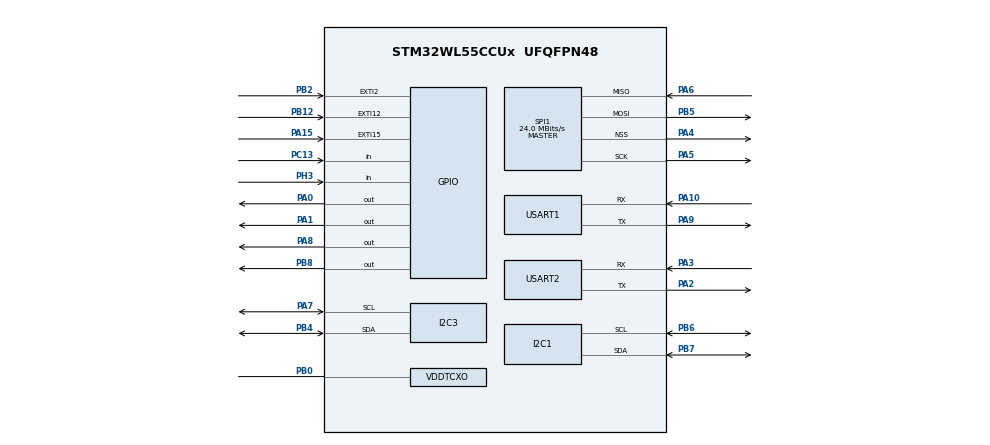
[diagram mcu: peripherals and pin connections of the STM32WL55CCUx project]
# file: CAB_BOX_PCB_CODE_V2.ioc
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Dma.Request0=USART2_TX
Dma.USART2_TX.0.Channel_PRIV_NPRIV=DMA_CHANNEL_NPRIV_DISABLE
Dma.USART2_TX.0.Direction=DMA_MEMORY_TO_PERIPH
Dma.USART2_TX.0.EventEnable=DISABLE
Dma.USART2_TX.0.Instance=DMA1_Channel1
Dma.USART2_TX.0.MemDataAlignment=DMA_MDATAALIGN_BYTE
Dma.USART2_TX.0.MemInc=DMA_MINC_ENABLE
Dma.USART2_TX.0.Mode=DMA_NORMAL
Dma.USART2_TX.0.PeriphDataAlignment=DMA_PDATAALIGN_BYTE
Dma.USART2_TX.0.PeriphInc=DMA_PINC_DISABLE
Dma.USART2_TX.0.Polarity=HAL_DMAMUX_REQ_GEN_RISING
Dma.USART2_TX.0.Priority=DMA_PRIORITY_LOW
Dma.USART2_TX.0.RequestNumber=1
Dma.USART2_TX.0.SignalID=NONE
Dma.USART2_TX.0.SyncEnable=DISABLE
Dma.USART2_TX.0.SyncPolarity=HAL_DMAMUX_SYNC_NO_EVENT
Dma.USART2_TX.0.SyncRequestNumber=1
Dma.USART2_TX.0.SyncSignalID=NONE
I2C1.Timing=0x20303E5D
I2C3.Timing=0x20303E5D
Mcu.Family=STM32WL
Mcu.Name=STM32WL55CCUx
Mcu.Package=UFQFPN48
Mcu.UserConstants=RTC_PREDIV_A,((1<<(15-RTC_N_PREDIV_S))-1);RTC_N_PREDIV_S,10;RTC_PREDIV_S,((1<<RTC_N_PREDIV_S)-1)
NVIC.DMA1_Channel1_IRQn=true\:0\:0\:false\:false\:true\:false\:true\:true
NVIC.EXTI15_10_IRQn=true\:0\:0\:true\:false\:true\:true\:true\:true
NVIC.EXTI2_IRQn=true\:0\:0\:true\:false\:true\:true\:true\:true
NVIC.I2C1_EV_IRQn=true\:0\:0\:true\:false\:true\:true\:true\:true
NVIC.PriorityGroup=NVIC_PRIORITYGROUP_4
NVIC.RTC_Alarm_IRQn=true\:0\:0\:true\:false\:true\:true\:true\:true
NVIC.SPI1_IRQn=true\:0\:0\:true\:false\:true\:true\:true\:true
NVIC.SUBGHZ_Radio_IRQn=true\:0\:0\:true\:false\:true\:true\:true\:true
NVIC.TIM2_IRQn=true\:0\:0\:false\:false\:true\:true\:true\:true
NVIC.USART1_IRQn=true\:0\:0\:true\:false\:true\:true\:true\:true
NVIC.USART2_IRQn=true\:0\:0\:true\:false\:true\:true\:true\:true
OSC_IN.Mode=HSE-TCXO
OSC_IN.Signal=RCC_OSC_IN
PA0.Signal=GPIO_Output
PA1.Signal=GPIO_Output
PA10.GPIO_Speed=GPIO_SPEED_FREQ_VERY_HIGH
PA10.Mode=Asynchronous
PA10.Signal=USART1_RX
PA11.GPIO_Speed=GPIO_SPEED_FREQ_VERY_HIGH
PA11.Signal=USART1_CTS
PA12.GPIO_Speed=GPIO_SPEED_FREQ_VERY_HIGH
PA12.Signal=USART1_RTS
PA13.Mode=Serial_Wire
PA13.Signal=DEBUG_JTMS-SWDIO
PA14.Mode=Serial_Wire
PA14.Signal=DEBUG_JTCK-SWCLK
PA15.GPIO_ModeDefaultEXTI=GPIO_MODE_IT_FALLING
PA15.GPIO_PuPd=GPIO_PULLUP
PA15.Signal=GPXTI15
PA2.GPIO_Speed=GPIO_SPEED_FREQ_VERY_HIGH
PA2.Mode=Asynchronous
PA2.Signal=USART2_TX
PA3.GPIO_Speed=GPIO_SPEED_FREQ_VERY_HIGH
PA3.Mode=Asynchronous
PA3.Signal=USART2_RX
PA4.Mode=NSS_Signal_Hard_Output
PA4.Signal=SPI1_NSS
PA5.Mode=Full_Duplex_Master
PA5.Signal=SPI1_SCK
PA6.Mode=Full_Duplex_Master
PA6.Signal=SPI1_MISO
PA7.GPIO_Pu=GPIO_PULLUP
PA7.Mode=I2C
PA7.Signal=I2C3_SCL
PA8.Signal=GPIO_Output
PA9.GPIO_Speed=GPIO_SPEED_FREQ_VERY_HIGH
PA9.Mode=Asynchronous
PA9.Signal=USART1_TX
PB0-VDD_TCXO.Mode=HSE-TCXO
PB0-VDD_TCXO.Signal=VDDTCXO
PB12.GPIO_ModeDefaultEXTI=GPIO_MODE_IT_RISING_FALLING
PB12.Signal=GPXTI12
PB2.GPIO_ModeDefaultEXTI=GPIO_MODE_IT_RISING_FALLING
PB2.Signal=GPXTI2
PB3.Signal=DEBUG_JTDO-SWO
PB4.GPIO_Pu=GPIO_PULLUP
PB4.Mode=I2C
PB4.Signal=I2C3_SDA
PB5.Mode=Full_Duplex_Master
PB5.Signal=SPI1_MOSI
PB6.GPIO_FM6=__NULL
PB6.GPIO_Pu=GPIO_PULLUP
PB6.GPIO_Speed=GPIO_SPEED_FREQ_HIGH
PB6.Mode=I2C
PB6.Signal=I2C1_SCL
PB7.GPIO_FM7=__NULL
PB7.GPIO_Pu=GPIO_PULLUP
PB7.GPIO_Speed=GPIO_SPEED_FREQ_HIGH
PB7.Mode=I2C
PB7.Signal=I2C1_SDA
PB8.Signal=GPIO_Output
PC13.Signal=GPIO_Input
PC14-OSC32_IN.Mode=LSE-External-Oscillator
PC14-OSC32_IN.Signal=RCC_OSC32_IN
PC15-OSC32_OUT.Mode=LSE-External-Oscillator
PC15-OSC32_OUT.Signal=RCC_OSC32_OUT
PH3-BOOT0.Signal=GPIO_Input
ProjectManager.HeapSize=0x200
ProjectManager.StackSize=0x800
ProjectManager.TargetToolchain=STM32CubeIDE
RCC.AHBFreq_Value=48000000
RCC.APB1Freq_Value=48000000
RCC.APB1TimFreq_Value=48000000
RCC.APB2Freq_Value=48000000
RCC.APB2TimFreq_Value=48000000
RCC.APB3Freq_Value=48000000
RCC.CortexFreq_Value=48000000
RCC.HCLKFreq_Value=48000000
RCC.HSE_VALUE=32000000
RCC.HSI_VALUE=16000000
RCC.LSE_VALUE=32768
RCC.MSIClockRange=RCC_MSIRANGE_11
RCC.SYSCLKFreq_VALUE=48000000
RCC.VCOOutputFreq_Value=384000000
RTC.Alarm-Alarm\ A=RTC_ALARM_A
SPI1.BaudRatePrescaler=SPI_BAUDRATEPRESCALER_2
SPI1.CalculateBaudRate=24.0 MBits/s
SPI1.Direction=SPI_DIRECTION_2LINES
SPI1.Mode=SPI_MODE_MASTER
SPI1.VirtualNSS=VM_NSSHARD
SPI1.VirtualType=VM_MASTER
SUBGHZ_PHY.Activate_DEBUG_LINE=true
SUBGHZ_PHY.Activate_RADIO_BOARD_INTERFACE=Bsp
SUBGHZ_PHY.FSK_BANDWIDTH=40000
SUBGHZ_PHY.FSK_DATARATE=20000
SUBGHZ_PHY.FSK_FDEV=10000
SUBGHZ_PHY.LOW_POWER_DISABLE=true
SUBGHZ_PHY.MODEM_USED=USE_MODEM_FSK
SUBGHZ_PHY.RF_FREQUENCY=910000000
SUBGHZ_PHY.SUBGHZ_APPLICATION=SUBGHZ_ADV_APPLICATION
SubGHz_Phy.BSP.number=5
SubGHz_Phy0.BSP.STBoard=false
SubGHz_Phy0.BSP.api=Unknown
SubGHz_Phy0.BSP.condition=\!SEM_SUBGHZ_USER_APPLICATION | SEM_SUBGHZ_USE_RTC
SubGHz_Phy0.BSP.instance=RTC
SubGHz_Phy0.BSP.ip=RTC
SubGHz_Phy0.BSP.mode=RTC Enabled
SubGHz_Phy0.BSP.name=RTC
SubGHz_Phy0.BSP.solution=RTC
SubGHz_Phy1.BSP.STBoard=false
SubGHz_Phy1.BSP.api=Unknown
SubGHz_Phy1.BSP.condition=\!SEM_SUBGHZ_USER_APPLICATION | SEM_SUBGHZ_USE_UART
SubGHz_Phy1.BSP.instance=USART2
SubGHz_Phy1.BSP.ip=(LPU|US)ART
SubGHz_Phy1.BSP.mode=Asynchronous
SubGHz_Phy1.BSP.name=USART
SubGHz_Phy1.BSP.solution=USART2
SubGHz_Phy2.BSP.STBoard=false
SubGHz_Phy2.BSP.api=Unknown
SubGHz_Phy2.BSP.condition=SEM_PROBE_LINE_FOR_SUBGHZ_PHY
SubGHz_Phy2.BSP.instance=PA0
SubGHz_Phy2.BSP.ip=GPIO
SubGHz_Phy2.BSP.mode=Output
SubGHz_Phy2.BSP.name=Debug Line 2
SubGHz_Phy2.BSP.solution=PA0
SubGHz_Phy3.BSP.STBoard=false
SubGHz_Phy3.BSP.api=Unknown
SubGHz_Phy3.BSP.condition=SEM_PROBE_LINE_FOR_SUBGHZ_PHY
SubGHz_Phy3.BSP.instance=PA1
SubGHz_Phy3.BSP.ip=GPIO
SubGHz_Phy3.BSP.mode=Output
SubGHz_Phy3.BSP.name=Debug Line 3
SubGHz_Phy3.BSP.solution=PA1
SubGHz_Phy4.BSP.STBoard=false
SubGHz_Phy4.BSP.api=Unknown
SubGHz_Phy4.BSP.condition=SEM_PROBE_LINE_FOR_SUBGHZ_PHY
SubGHz_Phy4.BSP.instance=PB8
SubGHz_Phy4.BSP.ip=GPIO
SubGHz_Phy4.BSP.mode=Output
SubGHz_Phy4.BSP.name=Debug Line 4
SubGHz_Phy4.BSP.solution=PB8
TIM2.Period=20000
TIM2.Prescaler=9599
USART1.VirtualMode-Asynchronous=VM_ASYNC
USART2.VirtualMode-Asynchronous=VM_ASYNC
VP_ADV_TRACE_VS_ADV_TRACE.Mode=ADV_TRACE_Enabled
VP_MISC_VS_MISC.Mode=MISC_Enabled
VP_RTC_VS_RTC_Activate.Mode=RTC_Enabled
VP_RTC_VS_RTC_Alarm_A_Intern.Mode=Alarm A
VP_RTC_VS_RTC_Calendar.Mode=RTC_Calendar
VP_SEQUENCER_M4_VS_SEQUENCER.Mode=SEQUENCER_Enabled
VP_SUBGHZ_PHY_VS_SubGhzPhy.Mode=SubGhzPhy_Enabled
VP_SUBGHZ_VS_SUBGHZ.Mode=SUBGHZ_Activate
VP_TIM2_VS_ClockSourceINT.Mode=Internal
VP_TIMER_VS_TIMER.Mode=TIMER_Enabled
VP_TINY_LPM_VS_TINY_LPM.Mode=TINY_LPM_Enabled
board=custom

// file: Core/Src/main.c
/* USER CODE BEGIN Header */
// NGRF WCS for StormEq
// Jake Price
// 11/13/23

/**
 * @brief Wireless Control Service (WCS)
 * @defgroup bt_wcs Wireless Control Service (WCS)
 * @ingroup FSK
 * @{
 *
 * [Experimental] Users should note that the APIs can change
 * as a part of ongoing development.
 */

/*
 * Copyright (c) 2023 NGRF
 *
 *
 */
/* USER CODE END Header */
#include "main.h"
#include "dma.h"
#include "i2c.h"
#include "rtc.h"
#include "spi.h"
#include "app_subghz_phy.h"
#include "tim.h"
#include "usart.h"
#include "gpio.h"

/* USER CODE BEGIN Includes */
#include "subghz_phy_app.h"
#include <stdio.h>
#include <stdbool.h>
#include <stdlib.h>
#include "radio.h"
#include "sys_app.h"
#include "stm32wlxx_hal_i2c.h"
#include "radio_driver.h"
#include "usart_if.h"

/* USER CODE END Includes */

/* USER CODE BEGIN PD */

// LTC4015 Config Variables
#define LTC4015_I2C_ADDRESS 				 	 0xD0
#define LTC4015_I2C_WRITE_ADDRESS				 0xD0
#define LTC4015_I2C_READ_ADDRESS				 0xD1
// #define LTC4015_I2C_WRITE_ADDRESS		     0x68
// #define LTC4015_I2C_READ_ADDRESS				 0x69
// #define LTC4015_I2C_ADDRESS      			 ((uint16_t)0xD0)
// #define  LTC4015_I2C_ADDRESS 				 0x68
// uint16_t LTC4015_I2C_ADDRESS 			     = (uint16_t)0xD0;

#define LTC4015_CONTROL_REGISTER				0x14
#define EN_QCOUNT_BIT							(1 << 2)

// Sub-address for Coulomb Counter Prescale Factor
#define QCOUNT_PRESCALE_FACTOR_REGISTER_ADDR 	0x12

// Sub-address for Coulomb Counter Accumulator Value
#define QCOUNT_REGISTER_ADDR					0x13

// EEPROM Read and Write Addresses
#define EEPROM_ADDR 							0xA0
// #define EEPROM_START_ADDR					0x0000
#define CLEAR_DATA_VALUE 						0xFFFF

/* USER CODE END PD */

/* USER CODE BEGIN PV */

// Pairing Variables
PairingStates_t currentPairingState;

uint32_t lastButtonPressTime 		= 0;
uint8_t payload[2] 					= {0}; // This loads the Device IDs into Buffer Tx
uint16_t deviceId 					= 0;   // This is the local device ID
uint16_t otherDeviceID 				= 0;   // This is the remote device ID
uint16_t combinedDeviceID[2] 		= {0}; // This is the local combination (unswapped)
uint16_t swappedCombinedDeviceID[2] = {0}; // This is the local combination that we swap before sending so that it matches the remote device's otherCombinedDeviceID
uint16_t *EEPROM_PairingID1 		= NULL;
uint16_t *EEPROM_PairingID2			= NULL;
uint16_t EEPROM_Start_Address		= 0x0000;
bool isPairingConfirmed		 		= false;
bool isRepaired 			 		= false;	// debounce if this device successfully pairs, but other device fails
bool isPairingButtonPressed  		= false;
bool pairingFlag             		= false;
DeviceIDS deviceIds = {.deviceID 	= 0, .otherDeviceID = 0, .combinedDeviceID = {0, 0}, .swappedCombinedDeviceID = {0, 0}};

// UART Edge Trigger Flag
bool CenterCheck 					= true;

////////////////////////////////////////////////////////////////////////////////////////////////////////////////////
uint32_t cabChargeLevel 			= 0;
/////////////////////////////////////////////////////////////////////////////////////////////////////////////////////

/* USER CODE END PV */

void SystemClock_Config(void);
/* USER CODE BEGIN PFP */

void UARTCallback(UART_HandleTypeDef *huart);

void HAL_GPIO_EXTI_Callback(uint16_t GPIO_Pin);

/* USER CODE END PFP */

/* USER CODE BEGIN 0 */

#ifdef __GNUC__
#define PUTCHAR_PROTOTYPE int __io_putchar(int ch)
#else
#define PUTCHAR_PROTOTYPE int fputc(int ch, FILE *f)
#endif

PUTCHAR_PROTOTYPE
{
  HAL_UART_Transmit(&huart2, (uint8_t *)&ch, 1, HAL_MAX_DELAY);
  return ch;
}

void LTC4015_WriteRegister(I2C_HandleTypeDef *hi2c1, uint16_t registerAddr, uint16_t data)
{

	//	printf( "\n\rEntered LTC4015_WriteRegister()!!!!!!!!!!!!!!!!!!!!!\n\r");
	uint16_t writeAddress = (LTC4015_I2C_ADDRESS);
	HAL_StatusTypeDef status;

	uint8_t sendData[2] = {0};
	sendData[1] = (data >> 8) & 0xFF;
	sendData[0] = data & 0xFF;

    // printf("\n\rPre-Write Data: %u, %u\n\r", registerAddr, sendData[0], sendData[1]);
	// status = HAL_I2C_Mem_Write(hi2c1, writeAddress, registerAddr, I2C_MEMADD_SIZE_16BIT, &sendData, 1, HAL_MAX_DELAY);

	//	if(status == HAL_OK) {
	//	    printf("HAL_I2C_Mem_Write successful\n\r");
	//	} else if(status == HAL_ERROR) {
	//	    printf("HAL_I2C_Mem_Write error: HAL_ERROR\n\r");
	//	} else if(status == HAL_BUSY) {
	//	    printf("HAL_I2C_Mem_Write error: HAL_BUSY\n\r");
	//	} else if(status == HAL_TIMEOUT) {
	//	    printf("HAL_I2C_Mem_Write error: HAL_TIMEOUT\n\r");
	//	} else {
	//	    printf("Unknown error occurred during HAL_I2C_Mem_Write\n\r");
	//	}

}

uint16_t LTC4015_ReadRegister(I2C_HandleTypeDef *hi2c1, uint16_t registerAddr)
{
	//	printf( "\n\rEntered LTC4015_ReadRegister()!!!!!!!!!!!!!!!!!!!!!!\n\r");
	uint16_t readAddress = (LTC4015_I2C_ADDRESS);
	HAL_StatusTypeDef status;
	uint8_t *data = malloc(2 * sizeof(uint8_t));
	//uint8_t data[2] = {0};

	//	status = HAL_I2C_Mem_Read(hi2c1, readAddress, registerAddr, I2C_MEMADD_SIZE_16BIT, &data, 2, HAL_MAX_DELAY);
	//    if (status != HAL_OK)
	//    {
	//        printf("\n\rHAL_I2C_Mem_Read Failed\n\r");
	//        return 0;
	//    }
	//    else
	//    {
	//        printf("\n\rSUCCESS Read from register (HEX) 0x%04X: Data (HEX, HEX) = %02X, %02X\n\r", registerAddr, data[0], data[1]);
	//    }

    uint16_t registerValue = (data[0] << 8) | data[1];
    // Print the register value
    printf("\n\rRead from register (HEX) 0x%04X:  (HEX) 0x%04X\n\r", registerAddr, registerValue);

    return registerValue;
}
/////////////////////////////////////////////////////////////////////////////////////////////////////////////////
////////////////////////// Added this
//    status = HAL_SMBUS_Master_Transmit_IT(&hsmbus1, combinedAddress, (uint8_t *)&registerAddr, 1, 0);
//    if (status != HAL_OK)
//	{
//    	printf("\n\r1) HAL_SMBUS_Master_Transmit_IT Failed\n\r");
//	}
//	/////////////////////////
//
//	status = HAL_SMBUS_Master_Transmit_IT(&hsmbus1, combinedAddress, (uint8_t *)&data, 1, 0);
//    if (status != HAL_OK)
//    {
//    	printf("\n\r2) HAL_SMBUS_Master_Transmit_IT Failed\n\r");
//    }

//    //  --- Added this ---/////////////////////////////////////
//    status = HAL_SMBUS_Master_Transmit_IT(&hsmbus1, combinedAddress, (uint8_t *)&registerAddr, 1, 0);
//    if (status != HAL_OK)
//	{
//    	printf("\n\rHAL_SMBUS_Master_Transmit_IT Failed\n\r");
//	}
//    /////////////////////////////////////////////////////////
//
//    status = HAL_SMBUS_Master_Receive_IT(&hsmbus1, combinedAddress, (uint8_t *)&data, 1, 0);
//    if (status != HAL_OK)
//    {
//    	 printf("\n\rHAL_SMBUS_Mem_Read: Read from register 0x%04X failed. HAL Status: %u\n\r", registerAddr, status);
//    }
///////////////////////////////////////////////////////////////////////////////////////////////////////////////////
// Function to set the 'en_qcount' bit in the LTC4015
void EnableCoulombCounter(void)
{

	//printf( "\n\rEntered EnableCoulombCounter()!!!!!!!!!!!!!!!!!!!!!\n\r");

	/////////////////////////////////// INITIAL VALUES ////////////////////////////

	printf( "\n\r\n\r---INITIAL VALUES---\n\r\n\r");
	// Read the current value of the control register
    uint16_t ControlRegisterValue = LTC4015_ReadRegister(&hi2c1, LTC4015_CONTROL_REGISTER); // 0x0A
    printf( "\n\rInitial REGISTER (HEX) %02X (CONTROL REGISTER) contents: (HEX) %02X\n\r", LTC4015_CONTROL_REGISTER, ControlRegisterValue);
    //
    //    uint16_t preValue = LTC4015_ReadRegister(&hsmbus1, QCOUNT_PRESCALE_FACTOR_REGISTER_ADDR);
    //    printf( "\n\rInitial REGISTER 0x12 (PRESCALER) contents: %02X\n\r", preValue);
    //
    //    uint16_t preValue1 = LTC4015_ReadRegister(&hsmbus1, QCOUNT_REGISTER_ADDR);
    //    printf( "\n\rInitial REGISTER QCOUNT %02X\n\r", preValue1);

	printf( "\n\r\n\r---INITIAL VALUES---\n\r\n\r");

    // Set the 'en_qcount' bit while keeping other bits unchanged
	// uint16_t newControlValue = EN_QCOUNT_BIT;
    uint16_t newControlValue = ControlRegisterValue | EN_QCOUNT_BIT;
    printf( "\n\rnew control Value after setting EN_QCOUNT_BIT: (HEX) %02X\n\r", newControlValue);

    // Write the modified value back to the control register
    LTC4015_WriteRegister(&hi2c1, LTC4015_CONTROL_REGISTER, newControlValue);

    // Debug statement to check the new value saved to the register
    uint16_t newRegisterValue = LTC4015_ReadRegister(&hi2c1, LTC4015_CONTROL_REGISTER);
    printf( "\n\r\n\rnew Control Register Value after write: (HEX) %04X.\n\r\n\r", newRegisterValue);

}

// Function to set Coulomb Counter Prescale Factor
void SetCoulombCounterPrescaleFactor(uint8_t value)
{

	// printf("Entered  SetCoulombCounterPrescaleFactor function!!!!!!!!!!!!!!!!!!!\n\r");
    // Write the value to the specified sub-address

    LTC4015_WriteRegister(&hi2c1, QCOUNT_PRESCALE_FACTOR_REGISTER_ADDR, value);

    uint8_t newRegisterValue = LTC4015_ReadRegister(&hi2c1, QCOUNT_PRESCALE_FACTOR_REGISTER_ADDR);

    printf( "\n\r\n\rnew Control Register Value after write: (HEX) %02X\n\r\n\r", newRegisterValue);
}

// Function to set Coulomb Counter Accumulator Value
void SetCoulombCounterAccumulatorValue(uint16_t value)
{
	// printf("Entered SetCoulombCounterAccumulatorValue function!!!!!!!!!!!!!!!!!!\n\r");
    /////////////////////////////// Double check this!!!!!!!!!!!!!!!!!
    // Write the value to the specified sub-address (16-bit write)
    LTC4015_WriteRegister(&hi2c1, QCOUNT_REGISTER_ADDR, (uint8_t)(value & 0xFF));         		// Low byte
    LTC4015_WriteRegister(&hi2c1, QCOUNT_REGISTER_ADDR + 1, (uint8_t)((value >> 8) & 0xFF));      // High byte

    uint8_t newRegisterValue = LTC4015_ReadRegister(&hi2c1, QCOUNT_REGISTER_ADDR);
    printf( "\n\rnew Control Register Value after write: (HEX) %02X\n\r", newRegisterValue);

}

// Function to calculate State of Charge (SoC) without using floats
uint32_t CalculateSOC(void)
{
	printf("Entered CalculateSOC function!!!!!!!!!!!!!!!!!!!!!!!!!!!!!\n\r");

    // Constants from the formula
    uint16_t offset  = 16384;
    uint16_t divisor = 32768;
    uint8_t scale    = 1; // set to 1 for 100%

    // Read QCOUNT from register 0x13
    uint16_t qcount        = LTC4015_ReadRegister(&hi2c1, QCOUNT_REGISTER_ADDR);
    printf( "\n\rQCOUNT1 %02X\n\r", qcount);
    // Perform integer-based SoC calculation
    uint32_t soc           = scale * (qcount - offset);
    soc /= divisor;

    // Ensure SoC is within the valid range (0 to 100)
    soc = (soc < 0) ? 0 : soc;
    soc = (soc > 100) ? 100 : soc;

    printf("SOC = %u\n\r", soc);

    uint8_t preValue = LTC4015_ReadRegister(&hi2c1, 0x12);
    printf( "\n\rPRESCALE FACTOR %02X\n\r", preValue);

    uint8_t preValue1 = LTC4015_ReadRegister(&hi2c1, 0x13);
    printf( "\n\rQCOUNT2 %02X\n\r", preValue1);

    return soc;
}

// EEPROM Read and Write Functions
void saveIDsToEEPROM(I2C_HandleTypeDef *hi2c3, uint16_t id1, uint16_t id2, uint16_t startAddress)
{

	// Construct the high and low bytes of the pairingID 1
	uint8_t data_high_byte_1  = (id1 >> 8) & 0xFF;
	uint8_t data_low_byte_1   = id1 & 0xFF;

	// Construct the high and low bytes of pairing ID 2
	uint8_t data_high_byte_2  = (id2 >> 8) & 0xFF;
	uint8_t data_low_byte_2   = id2 & 0xFF;

	// Perform the I2C write operations

    printf("Writing to address: 0x%02X, id1 Value: 0x%02X, id2 Value: 0x%02X\n\r", startAddress, id1, id2);
    printf("data_high_byte_1: 0x%02X, data_low_byte_1: 0x%02X\n\r", data_high_byte_1, data_low_byte_1);
    printf("data_high_byte_2: 0x%02X, data_low_byte_2: 0x%02X\n\r", data_high_byte_2, data_low_byte_2);

	// Send high and low bytes of pairingId1
    HAL_StatusTypeDef receiveStatus = HAL_I2C_Mem_Write(hi2c3, EEPROM_ADDR, startAddress + 1, 1, &data_high_byte_1, 1, HAL_MAX_DELAY);

	if (receiveStatus == HAL_OK)
	{
		printf("HAL_I2C_Mem_Write to EEPROM Successful!\n\r");
	}
	else
	{
		printf("HAL_I2C_Mem_Write to EEPROM Failed.\n\r");
	}

	// Send high and low bytes of pairingId2
	receiveStatus = HAL_I2C_Mem_Write(hi2c3, EEPROM_ADDR, startAddress + 2, 1, &data_low_byte_1, 1, HAL_MAX_DELAY);

	if (receiveStatus == HAL_OK)
	{
		printf("HAL_I2C_Mem_Write to EEPROM Successful!\n\r");
	}
	else
	{
		printf("HAL_I2C_Mem_Write to EEPROM Failed.\n\r");
	}

	// Send high and low bytes of pairingId2
	receiveStatus = HAL_I2C_Mem_Write(hi2c3, EEPROM_ADDR, startAddress + 3, 1, &data_high_byte_2, 1, HAL_MAX_DELAY);

	if (receiveStatus == HAL_OK)
	{
		printf("HAL_I2C_Mem_Write to EEPROM Successful!\n\r");
	}
	else
	{
		printf("HAL_I2C_Mem_Write to EEPROM Failed.\n\r");
	}

	 // Send high and low bytes of pairingId2
	receiveStatus = HAL_I2C_Mem_Write(hi2c3, EEPROM_ADDR, startAddress + 4, 1, &data_low_byte_2, 1, HAL_MAX_DELAY);

	if (receiveStatus == HAL_OK)
	{
		printf("HAL_I2C_Mem_Write to EEPROM Successful!\n\r");
	}
	else
	{
		printf("HAL_I2C_Mem_Write to EEPROM Failed.\n\r");
	}

}

bool readIDsFromEEPROM(I2C_HandleTypeDef *hi2c3, uint16_t *id1, uint16_t *id2, uint16_t startAddress)
{

	printf("Read Device IDS from EEPROM\n\r");

	// construct the read buffer and temp variables
	uint8_t * read_buffer 	= NULL;
	uint16_t temp1 			= 0;
	uint16_t temp2 			= 0;

	read_buffer = (uint8_t *)malloc(4 * sizeof(uint8_t));

    HAL_StatusTypeDef receiveStatus = HAL_I2C_Mem_Read(hi2c3, EEPROM_ADDR, startAddress + 1, 1, &read_buffer[0], 1, HAL_MAX_DELAY);
	if (receiveStatus != HAL_OK)
	{
		printf("Read Failed (ID1) - HAL Status: %u\n\r", receiveStatus);
		return false;
	}

	receiveStatus = HAL_I2C_Mem_Read(hi2c3, EEPROM_ADDR, startAddress + 2, 1, &read_buffer[1], 1, HAL_MAX_DELAY);
	if (receiveStatus != HAL_OK)
	{
		printf("Read Failed (ID2) - HAL Status: %u\n\r", receiveStatus);
		return false;
	}

	*id1 = (uint16_t)(read_buffer[0] << 8) | read_buffer[1];

	temp1 = *id1;

	if((temp1 != 0x0000) && (temp1 != 0xFFFF))
	{
		deviceIds.deviceID = temp1;
		printf("4. deviceIds.deviceID: 0x%04X\n\r", deviceIds.deviceID);
		deviceIds.combinedDeviceID[0]        = deviceIds.deviceID;
	}

	else
	{
		printf("4. No deviceID saved to EEPROM, waiting for pairing...\n\r");
	}

    receiveStatus = HAL_I2C_Mem_Read(hi2c3, EEPROM_ADDR, startAddress + 3, 1, &read_buffer[2], 1, HAL_MAX_DELAY);
	if (receiveStatus != HAL_OK)
	{
		printf("Read Failed (ID1) - HAL Status: %u\n\r", receiveStatus);
		return false;
	}

	receiveStatus = HAL_I2C_Mem_Read(hi2c3, EEPROM_ADDR, startAddress + 4, 1, &read_buffer[3], 1, HAL_MAX_DELAY);
	if (receiveStatus != HAL_OK)
	{
		printf("Read Failed (ID2) - HAL Status: %u\n\r", receiveStatus);
		return false;
	}

	*id2 = (uint16_t)(read_buffer[2] << 8) | read_buffer[3];
	temp2 = *id2;

	if((temp2 != 0x0000) && (temp2 != 0xFFFF))
	{
		deviceIds.otherDeviceID = temp2;
		printf("6. deviceIds.otherDeviceID: 0x%04X\n\r", deviceIds.otherDeviceID);

		deviceIds.combinedDeviceID[1]        = deviceIds.otherDeviceID;
		deviceIds.swappedCombinedDeviceID[0] = deviceIds.combinedDeviceID[1];
		deviceIds.swappedCombinedDeviceID[1] = deviceIds.combinedDeviceID[0];

		swappedCombinedDeviceID[0] 			 = deviceIds.swappedCombinedDeviceID[0];
	    swappedCombinedDeviceID[1] 			 = deviceIds.swappedCombinedDeviceID[1];

	}

	else
	{
		printf("6. No deviceID saved to EEPROM, waiting for pairing...\n\r");
	}

	printf("7. deviceIds.deviceID = 0x%04X\n\r", deviceIds.deviceID);
	printf("8. deviceIds.otherDeviceID = 0x%04X\n\r", deviceIds.otherDeviceID);

	free(read_buffer);

	if((temp1 != 0) && (temp1 != 0xFFFF) && (temp2 != 0) && (temp2 != 0xFFFF))
	{
		return true;
	}

	else
	{
		return false;
	}
}

/* USER CODE END 0 */

int main(void)
{

  /* MCU Configuration--------------------------------------------------------*/

  /* Reset of all peripherals, Initializes the Flash interface and the Systick. */
  HAL_Init();

  /* Configure the system clock */
  SystemClock_Config();

  /* USER CODE BEGIN SysInit */

  // HAL_InitTick should be called after SystemClock_Config
  HAL_InitTick(TICK_INT_PRIORITY);

  /* USER CODE END SysInit */

  /* Initialize all configured peripherals */
  MX_GPIO_Init();
  MX_DMA_Init();
  MX_I2C1_Init();
  MX_I2C3_Init();
  MX_RTC_Init();
  MX_SPI1_Init();
  MX_USART1_UART_Init();
  MX_USART2_UART_Init();
  MX_SubGHz_Phy_Init();
  MX_TIM2_Init();
  /* USER CODE BEGIN 2 */

  SUBGRF_SetPaConfig(0x2, 0x3, 0x0, 0x1);

  HAL_GPIO_WritePin(PAIR_LIGHT_PORT, RED_PIN, GPIO_PIN_SET);
  HAL_GPIO_WritePin(PAIR_LIGHT_PORT, GREEN_PIN, GPIO_PIN_RESET);
  HAL_GPIO_WritePin(PAIR_LIGHT_PORT, BLUE_PIN, GPIO_PIN_RESET);

  if(readIDsFromEEPROM(&hi2c3, EEPROM_PairingID1, EEPROM_PairingID2, EEPROM_Start_Address))
  {
	  printf("readIDSFromEEPROM() successful!\n\r");
	  isPairingButtonPressed = false;
	  currentPairingState = Paired;
  }

  // Configure NVIC interrupts
    HAL_NVIC_SetPriorityGrouping(NVIC_PRIORITYGROUP_4);   HAL_UART_MspInit(&huart1);

    HAL_NVIC_SetPriority(USART1_IRQn, 0, 0);
    HAL_NVIC_SetPriority(I2C1_EV_IRQn, 3, 0);
    HAL_NVIC_SetPriority(TIM2_IRQn, 4, 0);

    HAL_NVIC_EnableIRQ(USART1_IRQn);
    HAL_NVIC_EnableIRQ(TIM2_IRQn);
    HAL_NVIC_EnableIRQ(I2C1_EV_IRQn);
    __enable_irq();

   HAL_UART_Receive_IT(&huart1, dataReceived, sizeof(dataReceived));

   HAL_StatusTypeDef status = HAL_OK;

   status = HAL_I2C_IsDeviceReady(&hi2c1, LTC4015_I2C_ADDRESS, 2, HAL_MAX_DELAY);//FINDME!

   if(status != HAL_OK)
   {
	   printf("SMBUS configuration failed, status = %d\n\r", status);
   }

   else
   {
	   printf("SMBUS configuration succeeded!\n\r");
   }

   //////////////////////////////////////////////////////////////////////

   if (HAL_TIM_Base_Start_IT(&htim2) != HAL_OK)
   {
     /* Starting Error */
     Error_Handler();
   }
   ///////////////////////////////////////////////////////////////////////////
   HAL_Delay(300); // Need a 300 msec delay here for some reason

  // Enable the Coulomb Counter
  // EnableCoulombCounter();
  // Set Coulomb prescale factor
  //SetCoulombCounterPrescaleFactor(0x65);
  // Set Coulomb Counter Accumulator Value
  //SetCoulombCounterAccumulatorValue(0x0C00);

  // Example usage to calculate SoC  -------- Make interrupts for these or place in blocking while loop for testing
  //uint8_t soc = CalculateSOC();

  // Print the calculated SoC
  //printf( "\n\rState of Charge (SoC): %u%%\n\r", soc);

  readIDsFromEEPROM(&hi2c3, &EEPROM_PairingID1, &EEPROM_PairingID2, EEPROM_Start_Address);

  SUBGRF_SetPaConfig(2, 2, 0, 1);

  /* USER CODE END 2 */

  /* Infinite loop */
  /* USER CODE BEGIN WHILE */
  while (1)
  {

	  // HAL_Delay(3); // Need a 3 msec delay here for some reason

	  if(currentPairingState == Paired)
	  {
			HAL_GPIO_WritePin(PAIR_LIGHT_PORT, RED_PIN, GPIO_PIN_RESET);
			HAL_GPIO_WritePin(PAIR_LIGHT_PORT, GREEN_PIN, GPIO_PIN_SET);
			HAL_GPIO_WritePin(PAIR_LIGHT_PORT, BLUE_PIN, GPIO_PIN_RESET);
			//printf("Entering MX_SubGHz_Phy_Process\n\r");
			MX_SubGHz_Phy_Process();
	   }

	   else if((currentPairingState == GenerateDeviceID) || (currentPairingState == EncodeDeviceID) || (currentPairingState == BroadcastDeviceID))
	   {
			HAL_GPIO_WritePin(PAIR_LIGHT_PORT, RED_PIN, GPIO_PIN_RESET);
			HAL_GPIO_WritePin(PAIR_LIGHT_PORT, GREEN_PIN, GPIO_PIN_RESET);
			HAL_GPIO_WritePin(PAIR_LIGHT_PORT, BLUE_PIN, GPIO_PIN_SET);
	   }

	   else if((currentPairingState == Unknown))
	   {
			HAL_GPIO_WritePin(PAIR_LIGHT_PORT, RED_PIN, GPIO_PIN_SET);
			HAL_GPIO_WritePin(PAIR_LIGHT_PORT, GREEN_PIN, GPIO_PIN_RESET);
			HAL_GPIO_WritePin(PAIR_LIGHT_PORT, BLUE_PIN, GPIO_PIN_RESET);
	   }

	   else
	   {
			HAL_GPIO_WritePin(PAIR_LIGHT_PORT, RED_PIN, GPIO_PIN_SET);
			HAL_GPIO_WritePin(PAIR_LIGHT_PORT, GREEN_PIN, GPIO_PIN_RESET);
			HAL_GPIO_WritePin(PAIR_LIGHT_PORT, BLUE_PIN, GPIO_PIN_SET);
	   }

	  GPIO_PinState buttonState = HAL_GPIO_ReadPin(GPIOA, GPIO_PIN_15);
	  if(buttonState == GPIO_PIN_RESET)
	  {

		  uint32_t startTime = HAL_GetTick();

		  while(HAL_GPIO_ReadPin(GPIOA, GPIO_PIN_15) == GPIO_PIN_RESET)
		  {
			  HAL_Delay(10);

			  if((HAL_GetTick() - startTime) >= 5000)
			  {
				  printf("Button held down for 3 seconds\n\r");

				  deviceIds.deviceID 					= 0;
				  deviceIds.otherDeviceID 				= 0;
				  deviceIds.combinedDeviceID[0]		    = 0;
				  deviceIds.combinedDeviceID[1]         = 0;
				  deviceIds.swappedCombinedDeviceID[0]  = 0;
				  deviceIds.swappedCombinedDeviceID[1]  = 0;

				  isAck1Received						= false;
				  isOtherDeviceIDReceived               = false;
				  currentPairingState                   = Unknown;
				  isPairingButtonPressed                = true;

				  while(isPairingButtonPressed)
				  {
					  switch(currentPairingState)
					  {

					  case Unknown:
						// 0. Enter Pairing Mode
						HAL_GPIO_WritePin(PAIR_LIGHT_PORT, RED_PIN, GPIO_PIN_SET);
						HAL_GPIO_WritePin(PAIR_LIGHT_PORT, GREEN_PIN, GPIO_PIN_RESET);
						HAL_GPIO_WritePin(PAIR_LIGHT_PORT, BLUE_PIN, GPIO_PIN_RESET);

						isAck1Received                       = false;
						isOtherDeviceIDReceived              = false;

						deviceIds.deviceID                   = 0;
						deviceIds.otherDeviceID              = 0;
						deviceIds.combinedDeviceID[0]        = 0;
						deviceIds.combinedDeviceID[1]        = 0;
						deviceIds.swappedCombinedDeviceID[0] = 0;
						deviceIds.swappedCombinedDeviceID[1] = 0;

						printf("Current state is: %d\n\r", currentPairingState);
						currentPairingState = GenerateDeviceID;
						break;

					  case GenerateDeviceID:
						// 1. Generate a unique device identifier or key for pairing
						printf("Current state is: %d\n\r", currentPairingState);
						deviceId = Radio.Random();
						printf("randomly generated device ID is: %u\n\r", deviceId);
						currentPairingState = EncodeDeviceID;
						break;

					  case EncodeDeviceID:
						// 2. Encode the device ID
						printf("Current state is: %d\n\r", currentPairingState);
						encodeDeviceId(deviceId, payload);
						printf( "Encoded device ID is: 0x%02X%02X\n\r", payload[1], payload[0]);
						currentPairingState = BroadcastDeviceID;
						break;

					  case BroadcastDeviceID:
						// 3. Transmitter starts by transmitting deviceId x10, then listens for other deviceId x10
						printf("Current state is: %d\n\r", currentPairingState);
						broadcastDeviceId(payload);
						break;

					  case Paired:
						// 5. Device is paired, move on to PingPong_Process
						// printf("Device is Paired\n\r");
						isPairingButtonPressed = false;
						HAL_GPIO_WritePin(PAIR_LIGHT_PORT, RED_PIN, GPIO_PIN_RESET);
						HAL_GPIO_WritePin(PAIR_LIGHT_PORT, GREEN_PIN, GPIO_PIN_SET);
						HAL_GPIO_WritePin(PAIR_LIGHT_PORT, BLUE_PIN, GPIO_PIN_RESET);
						break;

					  default:
						// error condition
						// printf("Entered the default (error) state!\n\r");
						//currentPairingState = Unknown;
						break;
					}
				 }

				 startTime = HAL_GetTick();

			  }
		  }
	  }
    /* USER CODE END WHILE */
    MX_SubGHz_Phy_Process();

  }
}

void SystemClock_Config(void)
{
  RCC_OscInitTypeDef RCC_OscInitStruct = {0};
  RCC_ClkInitTypeDef RCC_ClkInitStruct = {0};

  /** Configure LSE Drive Capability
  */
  HAL_PWR_EnableBkUpAccess();
  __HAL_RCC_LSEDRIVE_CONFIG(RCC_LSEDRIVE_LOW);

  /** Configure the main internal regulator output voltage
  */
  __HAL_PWR_VOLTAGESCALING_CONFIG(PWR_REGULATOR_VOLTAGE_SCALE1);

  /** Initializes the CPU, AHB and APB buses clocks
  */
  RCC_OscInitStruct.OscillatorType = RCC_OSCILLATORTYPE_LSI|RCC_OSCILLATORTYPE_LSE
                              |RCC_OSCILLATORTYPE_MSI;
  RCC_OscInitStruct.LSEState = RCC_LSE_ON;
  RCC_OscInitStruct.MSIState = RCC_MSI_ON;
  RCC_OscInitStruct.MSICalibrationValue = RCC_MSICALIBRATION_DEFAULT;
  RCC_OscInitStruct.MSIClockRange = RCC_MSIRANGE_11;
  RCC_OscInitStruct.LSIDiv = RCC_LSI_DIV1;
  RCC_OscInitStruct.LSIState = RCC_LSI_ON;
  RCC_OscInitStruct.PLL.PLLState = RCC_PLL_NONE;
  if (HAL_RCC_OscConfig(&RCC_OscInitStruct) != HAL_OK)
  {
    Error_Handler();
  }

  /** Configure the SYSCLKSource, HCLK, PCLK1 and PCLK2 clocks dividers
  */
  RCC_ClkInitStruct.ClockType = RCC_CLOCKTYPE_HCLK3|RCC_CLOCKTYPE_HCLK
                              |RCC_CLOCKTYPE_SYSCLK|RCC_CLOCKTYPE_PCLK1
                              |RCC_CLOCKTYPE_PCLK2;
  RCC_ClkInitStruct.SYSCLKSource = RCC_SYSCLKSOURCE_MSI;
  RCC_ClkInitStruct.AHBCLKDivider = RCC_SYSCLK_DIV1;
  RCC_ClkInitStruct.APB1CLKDivider = RCC_HCLK_DIV1;
  RCC_ClkInitStruct.APB2CLKDivider = RCC_HCLK_DIV1;
  RCC_ClkInitStruct.AHBCLK3Divider = RCC_SYSCLK_DIV1;

  if (HAL_RCC_ClockConfig(&RCC_ClkInitStruct, FLASH_LATENCY_2) != HAL_OK)
  {
    Error_Handler();
  }
}

void Error_Handler(void)
{
  __disable_irq();
  while (1)
  {
  }
}
